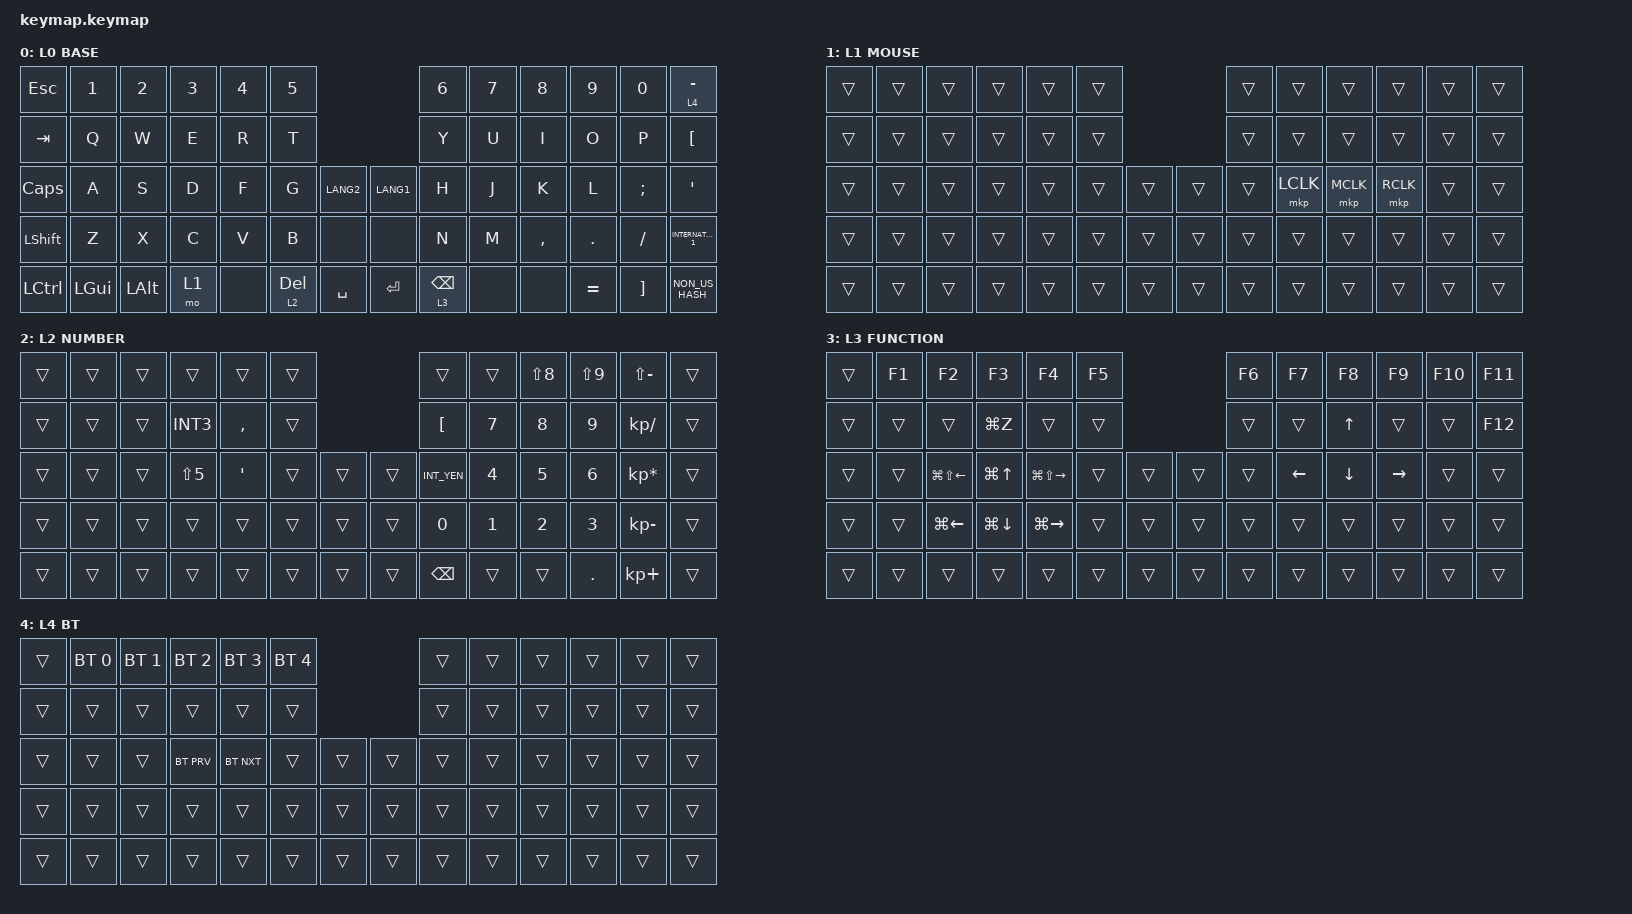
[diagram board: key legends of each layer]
#include <layout_shift_kp_override.dtsi>
#include <behaviors.dtsi>
#include <dt-bindings/zmk/bt.h>
#include <dt-bindings/zmk/keys.h>
#include <dt-bindings/zmk/pointing.h>

/ {
    keymap {
        compatible = "zmk,keymap";

        layer_0 {
            label = "L0 BASE";
            bindings = <
&kp ESC    &kp N1        &kp N2        &kp N3  &kp N4  &kp N5                              &kp N6           &kp N7  &kp N8     &kp N9     &kp N0             &lt 4 MINUS
&kp TAB    &kp Q         &kp W         &kp E   &kp R   &kp T                               &kp Y            &kp U   &kp I      &kp O      &kp P              &kp LEFT_BRACKET
&kp CAPS   &kp A         &kp S         &kp D   &kp F   &kp G         &kp LANG2  &kp LANG1  &kp H            &kp J   &kp K      &kp L      &kp SEMI           &kp SINGLE_QUOTE
&kp LSHFT  &kp Z         &kp X         &kp C   &kp V   &kp B         &none      &none      &kp N            &kp M   &kp COMMA  &kp DOT    &kp SLASH          &kp INTERNATIONAL_1
&kp LCTRL  &kp LEFT_GUI  &kp LEFT_ALT  &mo 1   &none   &lt 2 DELETE  &kp SPACE  &kp ENTER  &lt 3 BACKSPACE  &none   &none      &kp EQUAL  &kp RIGHT_BRACKET  &kp NON_US_HASH
            >;
        };

        MOUSE {
            label = "L1 MOUSE";
            bindings = <
&trans  &trans  &trans  &trans  &trans  &trans                  &trans  &trans     &trans     &trans     &trans  &trans
&trans  &trans  &trans  &trans  &trans  &trans                  &trans  &trans     &trans     &trans     &trans  &trans
&trans  &trans  &trans  &trans  &trans  &trans  &trans  &trans  &trans  &mkp LCLK  &mkp MCLK  &mkp RCLK  &trans  &trans
&trans  &trans  &trans  &trans  &trans  &trans  &trans  &trans  &trans  &trans     &trans     &trans     &trans  &trans
&trans  &trans  &trans  &trans  &trans  &trans  &trans  &trans  &trans  &trans     &trans     &trans     &trans  &trans
            >;
        };

        NUM {
            label = "L2 NUMBER";
            bindings = <
&trans  &trans  &trans  &trans            &trans            &trans                  &trans            &trans        &kp LS(NUMBER_8)  &kp LS(NUMBER_9)  &kp LS(MINUS)    &trans
&trans  &trans  &trans  &kp INT3          &kp COMMA         &trans                  &kp LEFT_BRACKET  &kp NUMBER_7  &kp NUMBER_8      &kp NUMBER_9      &kp KP_DIVIDE    &trans
&trans  &trans  &trans  &kp LS(NUMBER_5)  &kp SINGLE_QUOTE  &trans  &trans  &trans  &kp INT_YEN       &kp NUMBER_4  &kp NUMBER_5      &kp NUMBER_6      &kp KP_MULTIPLY  &trans
&trans  &trans  &trans  &trans            &trans            &trans  &trans  &trans  &kp N0            &kp NUMBER_1  &kp NUMBER_2      &kp NUMBER_3      &kp KP_MINUS     &trans
&trans  &trans  &trans  &trans            &trans            &trans  &trans  &trans  &kp BACKSPACE     &trans        &trans            &kp PERIOD        &kp KP_PLUS      &trans
            >;
        };

        FUNC {
            label = "L3 FUNCTION";
            bindings = <
&trans  &kp F1  &kp F2            &kp F3              &kp F4             &kp F5                  &kp F6  &kp F7          &kp F8          &kp F9           &kp F10  &kp F11
&trans  &trans  &trans            &kp LG(Z)           &trans             &trans                  &trans  &trans          &kp UP_ARROW    &trans           &trans   &kp F12
&trans  &trans  &kp LG(LS(LEFT))  &kp LG(UP_ARROW)    &kp LG(LS(RIGHT))  &trans  &trans  &trans  &trans  &kp LEFT_ARROW  &kp DOWN_ARROW  &kp RIGHT_ARROW  &trans   &trans
&trans  &trans  &kp LG(LEFT)      &kp LG(DOWN_ARROW)  &kp LG(RIGHT)      &trans  &trans  &trans  &trans  &trans          &trans          &trans           &trans   &trans
&trans  &trans  &trans            &trans              &trans             &trans  &trans  &trans  &trans  &trans          &trans          &trans           &trans   &trans
            >;
        };

        BT {
            label = "L4 BT";
            bindings = <
&trans  &bt BT_SEL 0  &bt BT_SEL 1  &bt BT_SEL 2  &bt BT_SEL 3  &bt BT_SEL 4                  &trans  &trans  &trans  &trans  &trans  &trans
&trans  &trans        &trans        &trans        &trans        &trans                        &trans  &trans  &trans  &trans  &trans  &trans
&trans  &trans        &trans        &bt BT_PRV    &bt BT_NXT    &trans        &trans  &trans  &trans  &trans  &trans  &trans  &trans  &trans
&trans  &trans        &trans        &trans        &trans        &trans        &trans  &trans  &trans  &trans  &trans  &trans  &trans  &trans
&trans  &trans        &trans        &trans        &trans        &trans        &trans  &trans  &trans  &trans  &trans  &trans  &trans  &trans
            >;
        };
    };
};
